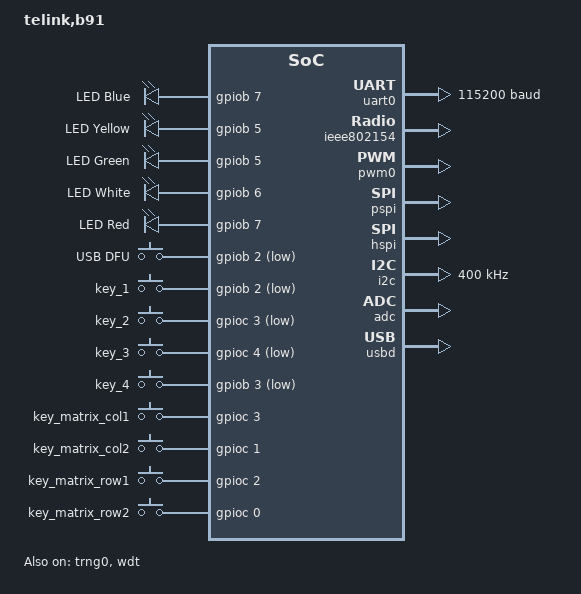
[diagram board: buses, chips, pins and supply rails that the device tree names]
/*
 * Copyright (c) 2023 Telink Semiconductor
 *
 * SPDX-License-Identifier: Apache-2.0
 */

/dts-v1/;

#include <freq.h>
#include <telink/telink_b91.dtsi>
#include "tlsr9518adk80d-pinctrl.dtsi"

/ {
	model = "telink,b91";
	compatible = "telink,tlsr9518adk80d";

	aliases {
		led0 = &led_blue;
		led1 = &led_green;
		led2 = &led_white;
		led3 = &led_red;
		sw0 = &key_1;
		sw1 = &key_2;
		sw2 = &key_3;
		sw3 = &key_4;
		pwm-led0 = &pwm_led0;
		pwm-0 = &pwm0;
		watchdog0 = &wdt;
		mcuboot-button0 = &key_dfu;
		mcuboot-led0 = &led_blue;

		system-state-led = &led_yellow;
		pwm-led1 = &pwm_led1;
		pwm-led2 = &pwm_led2;
		pwm-led3 = &pwm_led3;
	};

	leds {
		compatible = "gpio-leds";
		led_blue: led_0 {
			gpios = <&gpiob 7 GPIO_ACTIVE_HIGH>;
			label = "LED Blue";
		};
		led_yellow: led_yellow {
			gpios = <&gpiob 5 GPIO_ACTIVE_HIGH>;
			label = "LED Yellow";
		};

		led_green: led_1 {
			gpios = <&gpiob 5 GPIO_ACTIVE_HIGH>;
			label = "LED Green";
		};

		led_white: led_2 {
			gpios = <&gpiob 6 GPIO_ACTIVE_HIGH>;
			label = "LED White";
		};

		led_red: led_3 {
			gpios = <&gpiob 7 GPIO_ACTIVE_HIGH>;
			label = "LED Red";
		};
	};

	pwm_leds {

		pwm_led0: pwm_led_0 {
			pwms = <&pwm0 2 PWM_MSEC(20) PWM_POLARITY_NORMAL>;
			label = "PWM LED Blue";
		};
		pwm_led1: pwm_led_1 {
			pwms = <&pwm0 5 PWM_MSEC(20) PWM_POLARITY_NORMAL>;
			label = "PWM LED Green";
		};
		pwm_led2: pwm_led_2 {
			pwms = <&pwm0 0 PWM_MSEC(20) PWM_POLARITY_NORMAL>;
			label = "PWM LED Red";
		};
		pwm_led3: pwm_led_3 {
			pwms = <&pwm0 3 PWM_MSEC(20) PWM_POLARITY_NORMAL>;
			label = "PWM IDENTIFY LED White";
		};
	};

	keys {
		compatible = "gpio-keys";

		key_dfu: button_dfu {
			label = "USB DFU";
			gpios = <&gpiob 2 (GPIO_ACTIVE_LOW | GPIO_PULL_UP)>;
		};
		key_1: button_1 {
			gpios = <&gpiob 2 (GPIO_PULL_UP | GPIO_ACTIVE_LOW)>;
		};
		key_2: button_2 {
			gpios = <&gpioc 3 (GPIO_PULL_UP | GPIO_ACTIVE_LOW)>;
		};
		key_3: button_3 {
			gpios = <&gpioc 4 (GPIO_PULL_UP | GPIO_ACTIVE_LOW)>;
		};
		key_4: button_4 {
			gpios = <&gpiob 3 (GPIO_PULL_UP | GPIO_ACTIVE_LOW)>;
		};
		key_matrix_col1: key_matrix_col1 {
			gpios = <&gpioc 3 GPIO_ACTIVE_HIGH>;
		};
		key_matrix_col2: key_matrix_col2 {
			gpios = <&gpioc 1 GPIO_ACTIVE_HIGH>;
		};
		key_matrix_row1: key_matrix_row1 {
			gpios = <&gpioc 2 GPIO_PULL_DOWN>;
		};
		key_matrix_row2: key_matrix_row2 {
			gpios = <&gpioc 0 GPIO_PULL_DOWN>;
		};
	};

	chosen {
		zephyr,console = &cdc_acm_uart0;
		zephyr,shell-uart = &cdc_acm_uart0;
		zephyr,sram = &ram_dlm;
		zephyr,flash = &flash;
		zephyr,flash-controller = &flash_mspi;
		zephyr,entropy = &trng0;
		zephyr,code-partition = &slot0_partition;
		zephyr,ieee802154 = &ieee802154;
	};
};

&cpu0 {
	clock-frequency = <48000000>;
};

&ram_ilm {
	reg = <0x00000000 0x00020000>;
};

&ram_dlm {
	reg = <0x00080000 0x00020000>;
};

&flash {
	reg = <0x20000000 0x100000>;

	partitions {
		compatible = "fixed-partitions";
		#address-cells = <1>;
		#size-cells = <1>;

		boot_partition: partition@0 {
			label = "mcuboot";
			reg = <0x00000000 0x20000>;
		};
		slot0_partition: partition@20000 {
			label = "image-0";
			reg = <0x20000 0x68000>;
		};
		slot1_partition: partition@88000 {
			label = "image-1";
			reg = <0x88000 0x68000>;
		};
		scratch_partition: partition@f0000 {
			label = "image-scratch";
			reg = <0xf0000 0x4000>;
		};
		storage_partition: partition@f4000 {
			label = "storage";
			reg = <0xf4000 0x0000a000>;
		};

		/* region <0xfe000 0x2000> is used for Telink B9x RF parameters */
		/* For 1M MCU - the partition address is 0xfe000 */
		/* For 2M MCU - the partition address is 0x1fe000 */
		/* For 4M MCU - the partition address is 0x3fe000 */
		/* For 16M MCU - the partition address is 0xffe000 */
		vendor_partition: partition@fe000 {
			label = "vendor-data";
			reg = <0xfe000 0x2000>;
		};
	};
};

&gpiob {
	interrupts = <37 1>;
	status = "okay";
};

&gpioc {
	interrupts = <38 1>;
	status = "okay";
};

&uart0 {
	status = "okay";
	current-speed = <115200>;
	pinctrl-0 = <&uart0_tx_pa3_default &uart0_rx_pa4_default>;
	pinctrl-names = "default";
};

&trng0 {
	status = "okay";
};

&ieee802154 {
	status = "okay";
};

&pinctrl {
	pwm_ch2_pb7_default: pwm_ch2_pb7_default {
		pinmux = <B9x_PINMUX_SET(B9x_PORT_B, B9x_PIN_7, B91_FUNC_A)>;
	};
	pwm_ch5_pb0_default: pwm_ch5_pb0_default {
		pinmux = <B9x_PINMUX_SET(B9x_PORT_B, B9x_PIN_0, B91_FUNC_C)>;
	};
	pwm_ch0_pb4_default: pwm_ch0_pb4_default {
		pinmux = <B9x_PINMUX_SET(B9x_PORT_B, B9x_PIN_4, B91_FUNC_B)>;
	};
	pwm_ch3_pb1_default: pwm_ch3_pb1_default {
		pinmux = <B9x_PINMUX_SET(B9x_PORT_B, B9x_PIN_1, B91_FUNC_C)>;
	};
	pwm_ch0_pb4_default: pwm_ch0_pb4_default {
		pinmux = <B9x_PINMUX_SET(B9x_PORT_B, B9x_PIN_4, B91_FUNC_B)>;
	};
	pwm_ch1_pb5_default: pwm_ch1_pb5_default {
		pinmux = <B9x_PINMUX_SET(B9x_PORT_B, B9x_PIN_5, B91_FUNC_C)>;
	};
	pwm_ch2_pe2_default: pwm_ch2_pe2_default {
		pinmux = <B9x_PINMUX_SET(B9x_PORT_E, B9x_PIN_2, B91_FUNC_C)>;
	};
	pwm_ch3_pe0_default: pwm_ch3_pe0_default {
		pinmux = <B9x_PINMUX_SET(B9x_PORT_E, B9x_PIN_0, B91_FUNC_C)>;
	};
};
&pwm0 {
	status = "okay";
	clock-frequency = <93750>;
	pinctrl-0 = <&pwm_ch2_pb7_default
				&pwm_ch5_pb0_default
				&pwm_ch0_pb4_default
				&pwm_ch3_pb1_default>;
	pinctrl-names = "default";
};

&pspi {
	status = "okay";
	cs0-pin = "PSPI_CSN_PC4";
	pinctrl-0 = <&pspi_clk_pc5_default &pspi_miso_pc6_default &pspi_mosi_pc7_default>;
	pinctrl-names = "default";
};

&hspi {
	status = "okay";
	cs0-pin = "HSPI_CSN_PA1";
	pinctrl-0 = <&hspi_clk_pa2_default &hspi_miso_pa3_default &hspi_mosi_pa4_default>;
	pinctrl-names = "default";
};

&i2c {
	status = "okay";
	clock-frequency = <I2C_BITRATE_FAST>;
	pinctrl-0 = <&i2c_scl_pe1_default &i2c_sda_pe3_default>;
	pinctrl-names = "default";
};

&adc {
	status = "okay";
	vref-internal-mv = <1200>;
	sample-freq = <DT_FREQ_K(96)>;
	pinctrl-0 = <&adc_pb0_default>;
	pinctrl-names = "default";
};

zephyr_udc0: &usbd {
	compatible = "telink,b9x-usbd";
	status = "okay";
};

&zephyr_udc0 {
	cdc_acm_uart0: cdc_acm_uart0 {
		compatible = "zephyr,cdc-acm-uart";
	};
};

&wdt {
	status = "okay";
};
